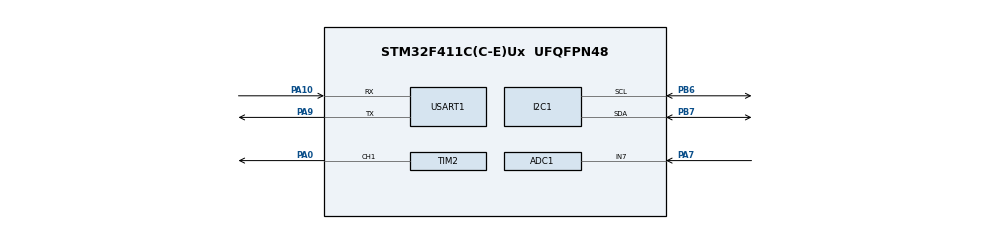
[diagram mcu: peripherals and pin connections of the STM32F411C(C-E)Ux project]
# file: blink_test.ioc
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ADC1.Channel-0\#ChannelRegularConversion=ADC_CHANNEL_7
ADC1.NbrOfConversionFlag=1
ADC1.Rank-0\#ChannelRegularConversion=1
ADC1.SamplingTime-0\#ChannelRegularConversion=ADC_SAMPLETIME_3CYCLES
ADC1.master=1
Mcu.Family=STM32F4
Mcu.Name=STM32F411C(C-E)Ux
Mcu.Package=UFQFPN48
NVIC.PriorityGroup=NVIC_PRIORITYGROUP_4
PA0-WKUP.Signal=S_TIM2_CH1_ETR
PA10.Mode=Asynchronous
PA10.Signal=USART1_RX
PA13.Mode=Serial_Wire
PA13.Signal=SYS_JTMS-SWDIO
PA14.Mode=Serial_Wire
PA14.Signal=SYS_JTCK-SWCLK
PA7.Signal=ADCx_IN7
PA9.Mode=Asynchronous
PA9.Signal=USART1_TX
PB6.Mode=I2C
PB6.Signal=I2C1_SCL
PB7.Mode=I2C
PB7.Signal=I2C1_SDA
PH0\ -\ OSC_IN.Mode=HSE-External-Oscillator
PH0\ -\ OSC_IN.Signal=RCC_OSC_IN
PH1\ -\ OSC_OUT.Mode=HSE-External-Oscillator
PH1\ -\ OSC_OUT.Signal=RCC_OSC_OUT
ProjectManager.HeapSize=0x200
ProjectManager.StackSize=0x400
ProjectManager.TargetToolchain=STM32CubeIDE
RCC.48MHZClocksFreq_Value=50000000
RCC.AHBFreq_Value=100000000
RCC.APB1CLKDivider=RCC_HCLK_DIV2
RCC.APB1Freq_Value=50000000
RCC.APB1TimFreq_Value=100000000
RCC.APB2Freq_Value=100000000
RCC.APB2TimFreq_Value=100000000
RCC.CortexFreq_Value=100000000
RCC.HCLKFreq_Value=100000000
RCC.HSE_VALUE=25000000
RCC.HSI_VALUE=16000000
RCC.LSE_VALUE=32768
RCC.PLLM=25
RCC.PLLN=200
RCC.PLLSourceVirtual=RCC_PLLSOURCE_HSE
RCC.SYSCLKFreq_VALUE=100000000
RCC.SYSCLKSource=RCC_SYSCLKSOURCE_PLLCLK
RCC.VCOOutputFreq_Value=200000000
SH.ADCx_IN7.0=ADC1_IN7,IN7
SH.S_TIM2_CH1_ETR.0=TIM2_CH1,PWM Generation1 CH1
TIM2.Channel-PWM\ Generation1\ CH1=TIM_CHANNEL_1
USART1.VirtualMode=VM_ASYNC
VP_TIM2_VS_ClockSourceINT.Mode=Internal
VP_TIM3_VS_ClockSourceINT.Mode=Internal
board=custom

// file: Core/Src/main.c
 /* USER CODE BEGIN Header */

/**

******************************************************************************

* @file : main.c

* @brief : STM32F411 with fake DHT11/BH1750, real MQ-2 & servo, UART to ESP

******************************************************************************

*/

/* USER CODE END Header */

#include "main.h"

#include <stdio.h>

#include <stdlib.h>

#include <string.h>

/* USER CODE BEGIN PD */

#define CMD_BUF_SIZE 64

#define DHT11_OK 0

#define DHT11_ERROR 1

// Константы для люксметра BH1750

#define BH1750_ADDR (0x23 << 1)

#define BH1750_POWER_ON 0x01

#define BH1750_OT_H_MODE 0x20

// Константы для Сервопривода (для таймера с периодом 20мс)

// Подберите под ваш таймер (обычно для 50 Гц: 500-2500 или 50-250)

#define SERVO_MIN_PULSE 500

#define SERVO_MAX_PULSE 2500

/* USER CODE END PD */

ADC_HandleTypeDef hadc1;

I2C_HandleTypeDef hi2c1;

TIM_HandleTypeDef htim2;

TIM_HandleTypeDef htim3;

UART_HandleTypeDef huart1;

/* USER CODE BEGIN PV */

float dht_temperature = 0.0;

float dht_humidity = 0.0;

uint8_t servo_angle = 90;

char cmd_buffer[CMD_BUF_SIZE];

uint8_t cmd_index = 0;

uint8_t cmd_ready = 0;

uint32_t fake_rand_seed = 0;

// ИСПРАВЛЕНО: Глобальный буфер для корректной работы прерываний UART

uint8_t rx_byte = 0;

/* USER CODE END PV */

void SystemClock_Config(void);

static void MX_GPIO_Init(void);

static void MX_USART1_UART_Init(void);

static void MX_ADC1_Init(void);

static void MX_I2C1_Init(void);

static void MX_TIM2_Init(void);

static void MX_TIM3_Init(void);

/* USER CODE BEGIN PFP */

uint8_t DHT11_Read(void);

void BH1750_Init(void);

float BH1750_ReadLux(void);

void Servo_SetAngle(uint8_t angle);

void delay_dht11(uint32_t us);

void ProcessCommand(char *cmd);

uint32_t fake_rand(void);

/* USER CODE END PFP */

/* USER CODE BEGIN 0 */

void delay_dht11(uint32_t us) {

__HAL_TIM_SET_COUNTER(&htim3, 0);

while (__HAL_TIM_GET_COUNTER(&htim3) < us);

}

void Set_Pin_Output(void) {

GPIO_InitTypeDef GPIO_InitStruct = {0};

GPIO_InitStruct.Pin = GPIO_PIN_1;

GPIO_InitStruct.Mode = GPIO_MODE_OUTPUT_OD;

GPIO_InitStruct.Pull = GPIO_PULLUP;

GPIO_InitStruct.Speed = GPIO_SPEED_FREQ_HIGH;

HAL_GPIO_Init(GPIOA, &GPIO_InitStruct);

}

void Set_Pin_Input(void) {

GPIO_InitTypeDef GPIO_InitStruct = {0};

GPIO_InitStruct.Pin = GPIO_PIN_1;

GPIO_InitStruct.Mode = GPIO_MODE_INPUT;

GPIO_InitStruct.Pull = GPIO_PULLUP;

HAL_GPIO_Init(GPIOA, &GPIO_InitStruct);

}

uint8_t DHT11_Read(void) {

uint8_t bits[5] = {0};

Set_Pin_Output();

HAL_GPIO_WritePin(GPIOA, GPIO_PIN_1, GPIO_PIN_RESET);

HAL_Delay(18);

HAL_GPIO_WritePin(GPIOA, GPIO_PIN_1, GPIO_PIN_SET);

delay_dht11(30);

Set_Pin_Input();

uint32_t timeout = 0;

while(HAL_GPIO_ReadPin(GPIOA, GPIO_PIN_1) == GPIO_PIN_SET && timeout++ < 1000) delay_dht11(1);

if(timeout >= 1000) return DHT11_ERROR;

timeout = 0;

while(HAL_GPIO_ReadPin(GPIOA, GPIO_PIN_1) == GPIO_PIN_RESET && timeout++ < 1000) delay_dht11(1);

if(timeout >= 1000) return DHT11_ERROR;

timeout = 0;

while(HAL_GPIO_ReadPin(GPIOA, GPIO_PIN_1) == GPIO_PIN_SET && timeout++ < 1000) delay_dht11(1);

if(timeout >= 1000) return DHT11_ERROR;

for(uint8_t i = 0; i < 5; i++) {

for(uint8_t j = 0; j < 8; j++) {

timeout = 0;

while(HAL_GPIO_ReadPin(GPIOA, GPIO_PIN_1) == GPIO_PIN_RESET && timeout++ < 1000) delay_dht11(1);

if(timeout >= 1000) return DHT11_ERROR;

delay_dht11(30);

if(HAL_GPIO_ReadPin(GPIOA, GPIO_PIN_1) == GPIO_PIN_SET) {

bits[i] |= (1 << (7 - j));

timeout = 0;

while(HAL_GPIO_ReadPin(GPIOA, GPIO_PIN_1) == GPIO_PIN_SET && timeout++ < 1000) delay_dht11(1);

if(timeout >= 1000) return DHT11_ERROR;

}

}

}

if(bits[4] == ((bits[0] + bits[1] + bits[2] + bits[3]) & 0xFF)) {

dht_humidity = (float)bits[0];

dht_temperature = (float)bits[2];

return DHT11_OK;

}

return DHT11_ERROR;

}

void BH1750_Init(void) {

uint8_t cmd = BH1750_POWER_ON;

HAL_I2C_Master_Transmit(&hi2c1, BH1750_ADDR, &cmd, 1, HAL_MAX_DELAY);

HAL_Delay(10);

}

float BH1750_ReadLux(void) {

uint8_t rx_data[2];

uint8_t cmd = BH1750_OT_H_MODE;

if (HAL_I2C_Master_Transmit(&hi2c1, BH1750_ADDR, &cmd, 1, HAL_MAX_DELAY) != HAL_OK)

return -1.0f;

HAL_Delay(180);

if (HAL_I2C_Master_Receive(&hi2c1, BH1750_ADDR, rx_data, 2, HAL_MAX_DELAY) != HAL_OK)

return -2.0f;

uint16_t raw = (rx_data[0] << 8) | rx_data[1];

return raw / 1.2f;

}

void Servo_SetAngle(uint8_t angle) {

if (angle > 180) angle = 180;

uint32_t pulse_width = SERVO_MIN_PULSE + (angle * (SERVO_MAX_PULSE - SERVO_MIN_PULSE) / 180);

__HAL_TIM_SET_COMPARE(&htim2, TIM_CHANNEL_1, pulse_width);

servo_angle = angle;

}

void ProcessCommand(char *cmd) {

if (strncmp(cmd, "STOVE_MODE:", 11) == 0) {

int mode = atoi(cmd + 11);

if (mode >= 1 && mode <= 6) {

uint8_t angle = (mode - 1) * 36;

Servo_SetAngle(angle);

char ack[32];

sprintf(ack, "Servo set to %d\n", angle);

HAL_UART_Transmit(&huart1, (uint8_t*)ack, strlen(ack), 100);

}

}

else if (strcmp(cmd, "STOVE_OFF") == 0) {

Servo_SetAngle(0);

char ack[] = "Stove OFF, servo 0\n";

HAL_UART_Transmit(&huart1, (uint8_t*)ack, strlen(ack), 100);

}

}

// ИСПРАВЛЕНО: Полностью переработанный и стабильный Callback приема

void HAL_UART_RxCpltCallback(UART_HandleTypeDef *huart) {

if (huart->Instance == USART1) {

if (rx_byte == '\n' || rx_byte == '\r') {

if (cmd_index > 0) {

cmd_buffer[cmd_index] = '\0';

cmd_ready = 1;

cmd_index = 0;

}

} else if (cmd_index < CMD_BUF_SIZE - 1) {

cmd_buffer[cmd_index++] = rx_byte;

}

// Перезапускаем прерывание на прием СЛЕДУЮЩЕГО байта строго в конце функции

HAL_UART_Receive_IT(&huart1, &rx_byte, 1);

}

}

uint32_t fake_rand(void) {

fake_rand_seed = fake_rand_seed * 1103515245 + 12345;

return (fake_rand_seed >> 16) & 0x7FFF;

}

/* USER CODE END 0 */

int main(void)

{

/* Reset of all peripherals, Initializes the Flash interface and the Systick. */

HAL_Init();

/* Configure the system clock */

SystemClock_Config();

/* Initialize all configured peripherals */

MX_GPIO_Init();

MX_USART1_UART_Init();

MX_ADC1_Init();

MX_I2C1_Init();

MX_TIM2_Init();

MX_TIM3_Init();

/* USER CODE BEGIN 2 */

HAL_TIM_Base_Start(&htim3);

HAL_TIM_PWM_Start(&htim2, TIM_CHANNEL_1);

Set_Pin_Output();

HAL_GPIO_WritePin(GPIOA, GPIO_PIN_1, GPIO_PIN_SET);

BH1750_Init();

Servo_SetAngle(90);

// ИСПРАВЛЕНО: Стартуем прерывание, используя глобальную переменную rx_byte

HAL_UART_Receive_IT(&huart1, &rx_byte, 1);

fake_rand_seed = HAL_GetTick();

// Приветственное сообщение

char welcome[] = "STM32 ready, sending data...\n";

HAL_UART_Transmit(&huart1, (uint8_t*)welcome, strlen(welcome), 100);

/* USER CODE END 2 */

/* Infinite loop */

/* USER CODE BEGIN WHILE */

while (1)

{

if (cmd_ready) {

cmd_ready = 0;

ProcessCommand(cmd_buffer);

}

// Генерация фейковых данных датчиков

dht_temperature = 20.0f + (fake_rand() % 100) / 10.0f;

dht_humidity = 30.0f + (fake_rand() % 400) / 10.0f;

float light_lux = 50.0f + (fake_rand() % 450);

int light_int = (int)light_lux;

int light_frac = (int)((light_lux - light_int) * 10);

if (light_frac < 0) light_frac = -light_frac;

// Чтение MQ-2 (ADC)

HAL_ADC_Start(&hadc1);

HAL_ADC_PollForConversion(&hadc1, 100);

uint32_t mq2_adc = HAL_ADC_GetValue(&hadc1);

HAL_ADC_Stop(&hadc1);

float mq2_voltage = (mq2_adc * 3.3f) / 4095.0f;

int smoke_percent = (int)((mq2_voltage / 3.3f) * 100);

if (smoke_percent > 100) smoke_percent = 100;

int temp_int = (int)dht_temperature;

int temp_frac = (int)((dht_temperature - temp_int) * 10);

if (temp_frac < 0) temp_frac = -temp_frac;

int humidity = (int)dht_humidity;

// Формирование JSON

char uart_buf[256];

int len = sprintf(uart_buf,

"{\"t\":%d.%d,\"h\":%d,\"l\":%d.%d,\"s\":%d,\"sv\":%d,\"mq2_raw\":%lu,\"mq2_v\":%d.%02d,\"mq2_percent\":%d}\n",

temp_int, temp_frac, humidity,

light_int, light_frac,

smoke_percent, servo_angle,

mq2_adc, (int)mq2_voltage, (int)((mq2_voltage - (int)mq2_voltage) * 100),

smoke_percent);

HAL_UART_Transmit(&huart1, (uint8_t*)uart_buf, len, 100);

// Обработка тревоги при задымлении >30%

if (smoke_percent > 30) {

Servo_SetAngle(0);

HAL_Delay(3000);

Servo_SetAngle(90);

for (int i = 0; i < 5; i++) {

HAL_GPIO_WritePin(GPIOC, GPIO_PIN_13, GPIO_PIN_SET);

HAL_Delay(100);

HAL_GPIO_WritePin(GPIOC, GPIO_PIN_13, GPIO_PIN_RESET);

HAL_Delay(100);

}

char alarm_buf[64];

sprintf(alarm_buf, "{\"alert\":\"SMOKE_DETECTED\",\"level\":%d}\n", smoke_percent);

HAL_UART_Transmit(&huart1, (uint8_t*)alarm_buf, strlen(alarm_buf), 100);

}

HAL_Delay(2000);

/* USER CODE END WHILE */

}

}

void SystemClock_Config(void)

{

RCC_OscInitTypeDef RCC_OscInitStruct = {0};

RCC_ClkInitTypeDef RCC_ClkInitStruct = {0};

/** Configure the main internal regulator output voltage

*/

__HAL_RCC_PWR_CLK_ENABLE();

__HAL_PWR_VOLTAGESCALING_CONFIG(PWR_REGULATOR_VOLTAGE_SCALE1);

/** Initializes the RCC Oscillators according to the specified parameters

* in the RCC_OscInitTypeDef structure.

*/

RCC_OscInitStruct.OscillatorType = RCC_OSCILLATORTYPE_HSE;

RCC_OscInitStruct.HSEState = RCC_HSE_ON;

RCC_OscInitStruct.PLL.PLLState = RCC_PLL_ON;

RCC_OscInitStruct.PLL.PLLSource = RCC_PLLSOURCE_HSE;

RCC_OscInitStruct.PLL.PLLM = 25;

RCC_OscInitStruct.PLL.PLLN = 200;

RCC_OscInitStruct.PLL.PLLP = RCC_PLLP_DIV2;

RCC_OscInitStruct.PLL.PLLQ = 4;

if (HAL_RCC_OscConfig(&RCC_OscInitStruct) != HAL_OK)

{

Error_Handler();

}

/** Initializes the CPU, AHB and APB buses clocks

*/

RCC_ClkInitStruct.ClockType = RCC_CLOCKTYPE_HCLK|RCC_CLOCKTYPE_SYSCLK

|RCC_CLOCKTYPE_PCLK1|RCC_CLOCKTYPE_PCLK2;

RCC_ClkInitStruct.SYSCLKSource = RCC_SYSCLKSOURCE_PLLCLK;

RCC_ClkInitStruct.AHBCLKDivider = RCC_SYSCLK_DIV1;

RCC_ClkInitStruct.APB1CLKDivider = RCC_HCLK_DIV2;

RCC_ClkInitStruct.APB2CLKDivider = RCC_HCLK_DIV1;

if (HAL_RCC_ClockConfig(&RCC_ClkInitStruct, FLASH_LATENCY_3) != HAL_OK)

{

Error_Handler();

}

}

static void MX_ADC1_Init(void)

{

ADC_ChannelConfTypeDef sConfig = {0};

/** Configure the global features of the ADC (Clock, Resolution, Data Alignment and number of conversion)

*/

hadc1.Instance = ADC1;

hadc1.Init.ClockPrescaler = ADC_CLOCK_SYNC_PCLK_DIV4;

hadc1.Init.Resolution = ADC_RESOLUTION_12B;

hadc1.Init.ScanConvMode = DISABLE;

hadc1.Init.ContinuousConvMode = DISABLE;

hadc1.Init.DiscontinuousConvMode = DISABLE;

hadc1.Init.ExternalTrigConvEdge = ADC_EXTERNALTRIGCONVEDGE_NONE;

hadc1.Init.ExternalTrigConv = ADC_SOFTWARE_START;

hadc1.Init.DataAlign = ADC_DATAALIGN_RIGHT;

hadc1.Init.NbrOfConversion = 1;

hadc1.Init.DMAContinuousRequests = DISABLE;

hadc1.Init.EOCSelection = ADC_EOC_SINGLE_CONV;

if (HAL_ADC_Init(&hadc1) != HAL_OK)

{

Error_Handler();

}

/** Configure for the selected ADC regular channel its corresponding rank in the sequencer and its sample time.

*/

sConfig.Channel = ADC_CHANNEL_7;

sConfig.Rank = 1;

sConfig.SamplingTime = ADC_SAMPLETIME_3CYCLES;

if (HAL_ADC_ConfigChannel(&hadc1, &sConfig) != HAL_OK)

{

Error_Handler();

}

}

static void MX_I2C1_Init(void)

{

hi2c1.Instance = I2C1;

hi2c1.Init.ClockSpeed = 100000;

hi2c1.Init.DutyCycle = I2C_DUTYCYCLE_2;

hi2c1.Init.OwnAddress1 = 0;

hi2c1.Init.AddressingMode = I2C_ADDRESSINGMODE_7BIT;

hi2c1.Init.DualAddressMode = I2C_DUALADDRESS_DISABLE;

hi2c1.Init.OwnAddress2 = 0;

hi2c1.Init.GeneralCallMode = I2C_GENERALCALL_DISABLE;

hi2c1.Init.NoStretchMode = I2C_NOSTRETCH_DISABLE;

if (HAL_I2C_Init(&hi2c1) != HAL_OK)

{

Error_Handler();

}

}

static void MX_TIM2_Init(void)

{

TIM_ClockConfigTypeDef sClockSourceConfig = {0};

TIM_MasterConfigTypeDef sMasterConfig = {0};

TIM_OC_InitTypeDef sConfigOC = {0};

htim2.Instance = TIM2;

htim2.Init.Prescaler = 0;

htim2.Init.CounterMode = TIM_COUNTERMODE_UP;

htim2.Init.Period = 4294967295;

htim2.Init.ClockDivision = TIM_CLOCKDIVISION_DIV1;

htim2.Init.AutoReloadPreload = TIM_AUTORELOAD_PRELOAD_DISABLE;

if (HAL_TIM_Base_Init(&htim2) != HAL_OK)

{

Error_Handler();

}

sClockSourceConfig.ClockSource = TIM_CLOCKSOURCE_INTERNAL;

if (HAL_TIM_ConfigClockSource(&htim2, &sClockSourceConfig) != HAL_OK)

{

Error_Handler();

}

if (HAL_TIM_PWM_Init(&htim2) != HAL_OK)

{

Error_Handler();

}

sMasterConfig.MasterOutputTrigger = TIM_TRGO_RESET;

sMasterConfig.MasterSlaveMode = TIM_MASTERSLAVEMODE_DISABLE;

if (HAL_TIMEx_MasterConfigSynchronization(&htim2, &sMasterConfig) != HAL_OK)

{

Error_Handler();

}

sConfigOC.OCMode = TIM_OCMODE_PWM1;

sConfigOC.Pulse = 0;

sConfigOC.OCPolarity = TIM_OCPOLARITY_HIGH;

sConfigOC.OCFastMode = TIM_OCFAST_DISABLE;

if (HAL_TIM_PWM_ConfigChannel(&htim2, &sConfigOC, TIM_CHANNEL_1) != HAL_OK)

{

Error_Handler();

}

HAL_TIM_MspPostInit(&htim2);

}

static void MX_TIM3_Init(void)

{

TIM_ClockConfigTypeDef sClockSourceConfig = {0};

TIM_MasterConfigTypeDef sMasterConfig = {0};

htim3.Instance = TIM3;

htim3.Init.Prescaler = 0;

htim3.Init.CounterMode = TIM_COUNTERMODE_UP;

htim3.Init.Period = 65535;

htim3.Init.ClockDivision = TIM_CLOCKDIVISION_DIV1;

htim3.Init.AutoReloadPreload = TIM_AUTORELOAD_PRELOAD_DISABLE;

if (HAL_TIM_Base_Init(&htim3) != HAL_OK)

{

Error_Handler();

}

sClockSourceConfig.ClockSource = TIM_CLOCKSOURCE_INTERNAL;

if (HAL_TIM_ConfigClockSource(&htim3, &sClockSourceConfig) != HAL_OK)

{

Error_Handler();

}

sMasterConfig.MasterOutputTrigger = TIM_TRGO_RESET;

sMasterConfig.MasterSlaveMode = TIM_MASTERSLAVEMODE_DISABLE;

if (HAL_TIMEx_MasterConfigSynchronization(&htim3, &sMasterConfig) != HAL_OK)

{

Error_Handler();

}

}

static void MX_USART1_UART_Init(void)

{

huart1.Instance = USART1;

// ИСПРАВЛЕНО: Изменено со 115200 на 9600 для стабильности ESP SoftwareSerial

huart1.Init.BaudRate = 9600;

huart1.Init.WordLength = UART_WORDLENGTH_8B;

huart1.Init.StopBits = UART_STOPBITS_1;

huart1.Init.Parity = UART_PARITY_NONE;

huart1.Init.Mode = UART_MODE_TX_RX;

huart1.Init.HwFlowCtl = UART_HWCONTROL_NONE;

huart1.Init.OverSampling = UART_OVERSAMPLING_16;

if (HAL_UART_Init(&huart1) != HAL_OK)

{

Error_Handler();

}

}

static void MX_GPIO_Init(void)

{

/* GPIO Ports Clock Enable */

__HAL_RCC_GPIOH_CLK_ENABLE();

__HAL_RCC_GPIOA_CLK_ENABLE();

__HAL_RCC_GPIOB_CLK_ENABLE();

__HAL_RCC_GPIOC_CLK_ENABLE(); // Включено для светодиода PC13 (Авария)

}

void Error_Handler(void)

{

__disable_irq();

while (1)

{

}

}
